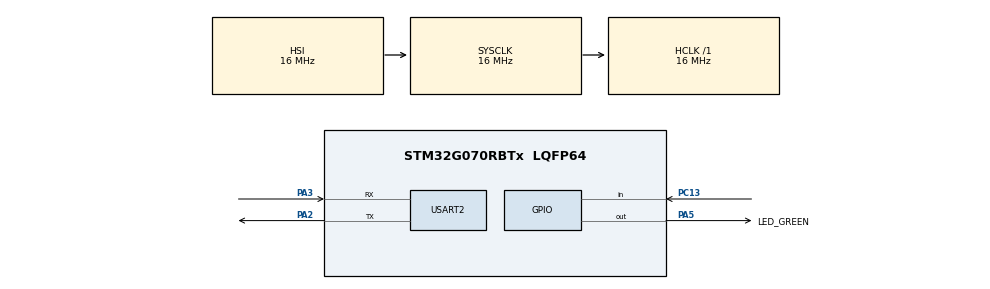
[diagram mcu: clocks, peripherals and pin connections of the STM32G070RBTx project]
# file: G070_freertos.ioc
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FREERTOS.Mutexes01=delayMutex,Dynamic,NULL,Available
FREERTOS.Tasks01=LedTask,24,128,StartLedTask,Default,NULL,Dynamic,NULL,NULL;ButtonTask,16,128,StartButtonTask,Default,NULL,Dynamic,NULL,NULL;MonitorTask,8,128,StartMonitorTask,Default,NULL,Dynamic,NULL,NULL
FREERTOS.configUSE_NEWLIB_REENTRANT=1
Mcu.Family=STM32G0
Mcu.Name=STM32G070RBTx
Mcu.Package=LQFP64
NVIC.TIM6_IRQn=true\:3\:0\:false\:false\:true\:false\:false\:true\:true
NVIC.TimeBase=TIM6_IRQn
NVIC.TimeBaseIP=TIM6
PA13.GPIO_Label=TMS
PA13.Mode=Serial_Wire
PA13.Signal=SYS_SWDIO
PA14-BOOT0.GPIO_Label=TCK
PA14-BOOT0.Mode=Serial_Wire
PA14-BOOT0.Signal=SYS_SWCLK
PA2.Mode=Asynchronous
PA2.Signal=USART2_TX
PA3.Mode=Asynchronous
PA3.Signal=USART2_RX
PA5.GPIO_Label=LED_GREEN
PA5.GPIO_Speed=GPIO_SPEED_FREQ_HIGH
PA5.Signal=GPIO_Output
PC13.GPIO_PuPd=GPIO_PULLUP
PC13.Signal=GPIO_Input
PC14-OSC32_IN\ (PC14).Mode=LSE-External-Oscillator
PC14-OSC32_IN\ (PC14).Signal=RCC_OSC32_IN
PC15-OSC32_OUT\ (PC15).Mode=LSE-External-Oscillator
PC15-OSC32_OUT\ (PC15).Signal=RCC_OSC32_OUT
PF0-OSC_IN\ (PF0).GPIO_Label=MCO
PF0-OSC_IN\ (PF0).Mode=HSE-External-Clock-Source
PF0-OSC_IN\ (PF0).Signal=RCC_OSC_IN
ProjectManager.HeapSize=0x200
ProjectManager.StackSize=0x400
ProjectManager.TargetToolchain=STM32CubeIDE
RCC.AHBFreq_Value=16000000
RCC.CortexFreq_Value=16000000
RCC.EXTERNAL_CLOCK_VALUE=12288000
RCC.HCLKFreq_Value=16000000
RCC.HSE_VALUE=8000000
RCC.HSI_VALUE=16000000
RCC.SYSCLKFreq_VALUE=16000000
RCC.VCOOutputFreq_Value=128000000
USART2.VirtualMode-Asynchronous=VM_ASYNC
VP_FREERTOS_VS_CMSIS_V2.Mode=CMSIS_V2
VP_SYS_VS_tim6.Mode=TIM6
board=NUCLEO-G070RB

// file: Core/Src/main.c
/* USER CODE BEGIN Header */
/**
  ******************************************************************************
  * @file           : main.c
  * @brief          : Main program body
  ******************************************************************************
  * @attention
  *
  * Copyright (c) 2026 STMicroelectronics.
  * All rights reserved.
  *
  * This software is licensed under terms that can be found in the LICENSE file
  * in the root directory of this software component.
  * If no LICENSE file comes with this software, it is provided AS-IS.
  *
  ******************************************************************************  *
  *clean, robust FreeRTOS example for the Nucleo‑G070RB with
	Task 1: LED task → toggles LED_GREEN with a variable delay
	Task 2: Button task → detects button press and increases the delay
	Task 3: Monitor task → prints the current delay (optional but useful)

	hardware-accurate for the G070RB:
	LED_GREEN = PA5
	USER button = PC13 (active‑low)

	FreeRTOS Task Structure:
		A global delay variable (protected by a mutex)
		Button task updates the delay
		LED task reads the delay and toggles
		Monitor task prints the delay every second
  ******************************************************************************
  */
/* USER CODE END Header */
#include "main.h"
#include "cmsis_os.h"

/* USER CODE BEGIN Includes */
#include "debug.h"
/* USER CODE END Includes */

UART_HandleTypeDef huart2;

/* Definitions for LedTask */
osThreadId_t LedTaskHandle;
const osThreadAttr_t LedTask_attributes = {
  .name = "LedTask",
  .priority = (osPriority_t) osPriorityNormal,
  .stack_size = 128 * 4
};
/* Definitions for ButtonTask */
osThreadId_t ButtonTaskHandle;
const osThreadAttr_t ButtonTask_attributes = {
  .name = "ButtonTask",
  .priority = (osPriority_t) osPriorityBelowNormal,
  .stack_size = 128 * 4
};
/* Definitions for MonitorTask */
osThreadId_t MonitorTaskHandle;
const osThreadAttr_t MonitorTask_attributes = {
  .name = "MonitorTask",
  .priority = (osPriority_t) osPriorityLow,
  .stack_size = 128 * 4
};
/* Definitions for delayMutex */
osMutexId_t delayMutexHandle;
const osMutexAttr_t delayMutex_attributes = {
  .name = "delayMutex"
};
/* USER CODE BEGIN PV */
uint32_t ledDelayMs = 200;   // initial delay
/* USER CODE END PV */

void SystemClock_Config(void);
static void MX_GPIO_Init(void);
static void MX_USART2_UART_Init(void);
void StartLedTask(void *argument);
void StartButtonTask(void *argument);
void StartMonitorTask(void *argument);

int main(void)
{

  /* MCU Configuration--------------------------------------------------------*/

  /* Reset of all peripherals, Initializes the Flash interface and the Systick. */
  HAL_Init();

  /* Configure the system clock */
  SystemClock_Config();

  /* USER CODE BEGIN SysInit */
  /* Initialize LED */
  HAL_GPIO_WritePin(GPIOB, LED_GREEN_Pin, GPIO_PIN_SET);

  /* Initialize buttons */
  //BSP_PB_Init(BUTTON_USER, BUTTON_MODE_EXTI);

  /* USER CODE END SysInit */

  /* Initialize all configured peripherals */
  MX_GPIO_Init();
  MX_USART2_UART_Init();
  /* USER CODE BEGIN 2 */
  HAL_Delay(100);
  debug_init(&huart2);
  debug_printf("g070_freertos\n");
  /* USER CODE END 2 */

  /* Init scheduler */
  osKernelInitialize();
  /* Create the mutex(es) */
  /* creation of delayMutex */
  delayMutexHandle = osMutexNew(&delayMutex_attributes);

  /* Create the thread(s) */
  /* creation of LedTask */
  LedTaskHandle = osThreadNew(StartLedTask, NULL, &LedTask_attributes);

  /* creation of ButtonTask */
  ButtonTaskHandle = osThreadNew(StartButtonTask, NULL, &ButtonTask_attributes);

  /* creation of MonitorTask */
  MonitorTaskHandle = osThreadNew(StartMonitorTask, NULL, &MonitorTask_attributes);

  /* Start scheduler */
  osKernelStart();

  /* We should never get here as control is now taken by the scheduler */

  /* Infinite loop */
  while (1)
  {

  }
}

void SystemClock_Config(void)
{
  RCC_OscInitTypeDef RCC_OscInitStruct = {0};
  RCC_ClkInitTypeDef RCC_ClkInitStruct = {0};

  /** Configure the main internal regulator output voltage
  */
  HAL_PWREx_ControlVoltageScaling(PWR_REGULATOR_VOLTAGE_SCALE1);

  /** Initializes the RCC Oscillators according to the specified parameters
  * in the RCC_OscInitTypeDef structure.
  */
  RCC_OscInitStruct.OscillatorType = RCC_OSCILLATORTYPE_HSI;
  RCC_OscInitStruct.HSIState = RCC_HSI_ON;
  RCC_OscInitStruct.HSIDiv = RCC_HSI_DIV1;
  RCC_OscInitStruct.HSICalibrationValue = RCC_HSICALIBRATION_DEFAULT;
  RCC_OscInitStruct.PLL.PLLState = RCC_PLL_NONE;
  if (HAL_RCC_OscConfig(&RCC_OscInitStruct) != HAL_OK)
  {
    Error_Handler();
  }

  /** Initializes the CPU, AHB and APB buses clocks
  */
  RCC_ClkInitStruct.ClockType = RCC_CLOCKTYPE_HCLK|RCC_CLOCKTYPE_SYSCLK
                              |RCC_CLOCKTYPE_PCLK1;
  RCC_ClkInitStruct.SYSCLKSource = RCC_SYSCLKSOURCE_HSI;
  RCC_ClkInitStruct.AHBCLKDivider = RCC_SYSCLK_DIV1;
  RCC_ClkInitStruct.APB1CLKDivider = RCC_HCLK_DIV1;

  if (HAL_RCC_ClockConfig(&RCC_ClkInitStruct, FLASH_LATENCY_0) != HAL_OK)
  {
    Error_Handler();
  }
}

static void MX_USART2_UART_Init(void)
{

  huart2.Instance = USART2;
  huart2.Init.BaudRate = 115200;
  huart2.Init.WordLength = UART_WORDLENGTH_8B;
  huart2.Init.StopBits = UART_STOPBITS_1;
  huart2.Init.Parity = UART_PARITY_NONE;
  huart2.Init.Mode = UART_MODE_TX_RX;
  huart2.Init.HwFlowCtl = UART_HWCONTROL_NONE;
  huart2.Init.OverSampling = UART_OVERSAMPLING_16;
  huart2.Init.OneBitSampling = UART_ONE_BIT_SAMPLE_DISABLE;
  huart2.Init.ClockPrescaler = UART_PRESCALER_DIV1;
  huart2.AdvancedInit.AdvFeatureInit = UART_ADVFEATURE_NO_INIT;
  if (HAL_UART_Init(&huart2) != HAL_OK)
  {
    Error_Handler();
  }
  if (HAL_UARTEx_SetTxFifoThreshold(&huart2, UART_TXFIFO_THRESHOLD_1_8) != HAL_OK)
  {
    Error_Handler();
  }
  if (HAL_UARTEx_SetRxFifoThreshold(&huart2, UART_RXFIFO_THRESHOLD_1_8) != HAL_OK)
  {
    Error_Handler();
  }
  if (HAL_UARTEx_DisableFifoMode(&huart2) != HAL_OK)
  {
    Error_Handler();
  }

}

static void MX_GPIO_Init(void)
{
  GPIO_InitTypeDef GPIO_InitStruct = {0};

  /* GPIO Ports Clock Enable */
  __HAL_RCC_GPIOC_CLK_ENABLE();
  __HAL_RCC_GPIOF_CLK_ENABLE();
  __HAL_RCC_GPIOA_CLK_ENABLE();

  /*Configure GPIO pin Output Level */
  HAL_GPIO_WritePin(LED_GREEN_GPIO_Port, LED_GREEN_Pin, GPIO_PIN_RESET);

  /*Configure GPIO pin : PC13 */
  GPIO_InitStruct.Pin = GPIO_PIN_13;
  GPIO_InitStruct.Mode = GPIO_MODE_INPUT;
  GPIO_InitStruct.Pull = GPIO_PULLUP;
  HAL_GPIO_Init(GPIOC, &GPIO_InitStruct);

  /*Configure GPIO pin : LED_GREEN_Pin */
  GPIO_InitStruct.Pin = LED_GREEN_Pin;
  GPIO_InitStruct.Mode = GPIO_MODE_OUTPUT_PP;
  GPIO_InitStruct.Pull = GPIO_NOPULL;
  GPIO_InitStruct.Speed = GPIO_SPEED_FREQ_HIGH;
  HAL_GPIO_Init(LED_GREEN_GPIO_Port, &GPIO_InitStruct);

}

void StartLedTask(void *argument)
{
  /* USER CODE BEGIN 5 */
    uint32_t localDelay;

    for(;;)
    {
        osMutexAcquire(delayMutexHandle, osWaitForever);
        localDelay = ledDelayMs;
        osMutexRelease(delayMutexHandle);
        HAL_GPIO_TogglePin(GPIOA, GPIO_PIN_5);
        osDelay(localDelay);
    }
  /* USER CODE END 5 */
}

void StartButtonTask(void *argument)
{
  /* USER CODE BEGIN StartButtonTask */
    uint8_t lastState = GPIO_PIN_SET;  // released (PC13 = HIGH)
    								   // GPIO_PIN_RESET = pressed because the button pulls PC13 to GND

    for(;;)
    {
        uint8_t state = HAL_GPIO_ReadPin(GPIOC, GPIO_PIN_13);
        if (state == GPIO_PIN_RESET && lastState == GPIO_PIN_SET)   // falling edge
        {
            osDelay(20); // debounce
            if (HAL_GPIO_ReadPin(GPIOC, GPIO_PIN_13) == GPIO_PIN_RESET)
            {
                debug_printf("Button pressed\n");
            	osMutexAcquire(delayMutexHandle, osWaitForever);
                ledDelayMs += 200;
                if (ledDelayMs > 2000)
                    ledDelayMs = 200;
                osMutexRelease(delayMutexHandle);
            }
        }

        lastState = state;
        osDelay(10);
    }
  /* USER CODE END StartButtonTask */
}

void StartMonitorTask(void *argument)
{
  /* USER CODE BEGIN StartMonitorTask */
  uint32_t localDelay;
  /* Infinite loop */
  for(;;)
  {
      osMutexAcquire(delayMutexHandle, osWaitForever);
      localDelay = ledDelayMs;
      osMutexRelease(delayMutexHandle);
      debug_printf("LED delay = %lu ms\n", localDelay);

      osDelay(1000);
  }
  /* USER CODE END StartMonitorTask */
}

void HAL_TIM_PeriodElapsedCallback(TIM_HandleTypeDef *htim)
{
  if (htim->Instance == TIM6)
  {
    HAL_IncTick();
  }
}

void Error_Handler(void)
{
  __disable_irq();
  while (1)
  {
  }
}
